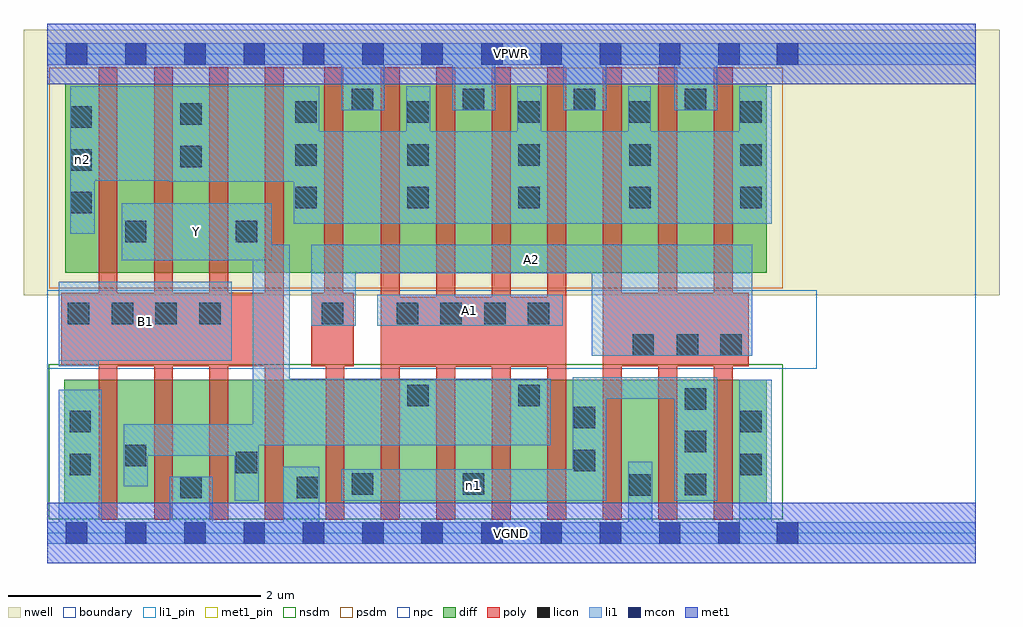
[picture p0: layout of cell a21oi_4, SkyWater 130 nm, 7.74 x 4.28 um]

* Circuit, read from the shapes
.subckt a21oi_4 A1 A2 B1 VGND VPWR Y n1 n2
XM1 Y B1 VGND VSUBS sky130_fd_pr__nfet_01v8 w=0.98 l=0.15 m=4
XM2 n1 A2 VGND VSUBS sky130_fd_pr__nfet_01v8 w=0.98 l=0.15 m=4
XM3 Y A1 n1 VSUBS sky130_fd_pr__nfet_01v8 w=0.98 l=0.15 m=4
XM4 Y B1 n2 n3 sky130_fd_pr__pfet_01v8 w=1.5 l=0.15 m=4
XM5 VPWR A2 n2 n3 sky130_fd_pr__pfet_01v8 w=1.5 l=0.15 m=4
XM6 n2 A1 VPWR n3 sky130_fd_pr__pfet_01v8 w=1.5 l=0.15 m=4
.ends

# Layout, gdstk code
import gdstk
lib = gdstk.Library(unit=1e-6, precision=1e-09)
def R(c, l, rs):  # rectangles x0, y0, x1, y1
    for r in rs: c.add(gdstk.rectangle(r[:2], r[2:], *l))
def A(c, l, x, y, w, h, nx, ny, dx, dy):  # array of equal rectangles
    R(c, l, [(x+i*dx, y+j*dy, x+i*dx+w, y+j*dy+h) for i in range(nx) for j in range(ny)])
nwell = (64, 20)
diff = (65, 20)
poly = (66, 20)
licon = (66, 44)
li1_pin = (67, 16)
li1 = (67, 20)
mcon = (67, 44)
met1_pin = (68, 16)
met1 = (68, 20)
nsdm = (93, 44)
psdm = (94, 20)
npc = (95, 20)
boundary = (235, 4)

a21oi_4 = lib.new_cell('a21oi_4')
R(a21oi_4, nwell, [(-0.19,1.885,7.55,3.99), (0,1.885,7.36,3.99)])
R(a21oi_4, diff, [(0.135,0.235,5.705,1.215), (0.14,2.065,5.705,3.565)])
A(a21oi_4, poly, 0.405, 0.105, 0.15, 3.59, 4, 1, 0.44, 0)
A(a21oi_4, poly, 2.645, 0.105, 0.15, 3.59, 7, 1, 0.44, 0)
R(a21oi_4, poly, [(2.205,0.105,2.355,1.905), (2.645,1.32,4.115,1.875), (0.11,1.325,1.875,1.905), (2.09,1.325,2.43,1.905), (2.195,1.325,2.345,3.695), (4.405,1.325,5.56,1.905)])
A(a21oi_4, licon, 5.055, 0.3, 0.17, 0.17, 1, 3, 0, 0.34)
A(a21oi_4, licon, 0.18, 2.535, 0.17, 0.17, 1, 3, 0, 0.34)
A(a21oi_4, licon, 1.965, 2.575, 0.17, 0.17, 1, 3, 0, 0.34)
A(a21oi_4, licon, 2.855, 2.575, 0.17, 0.17, 4, 3, 0.88, 0.34)
A(a21oi_4, licon, 2.415, 3.355, 0.17, 0.17, 4, 1, 0.88, 0)
R(a21oi_4, licon, [(1.055,0.275,1.225,0.445), (1.975,0.275,2.145,0.445), (4.615,0.295,4.785,0.465), (2.415,0.305,2.585,0.475), (3.295,0.305,3.465,0.475), (0.175,0.46,0.345,0.63), (5.495,0.46,5.665,0.63), (1.495,0.475,1.665,0.645), (4.175,0.49,4.345,0.66), (0.615,0.53,0.785,0.7), (0.175,0.8,0.345,0.97), (5.495,0.8,5.665,0.97), (4.175,0.83,4.345,1), (2.855,1.005,3.025,1.175), (3.735,1.005,3.905,1.175), (4.64,1.405,4.81,1.575), (4.99,1.405,5.16,1.575), (5.335,1.405,5.505,1.575), (0.16,1.655,0.33,1.825), (0.51,1.655,0.68,1.825), (0.855,1.655,1.025,1.825), (1.205,1.655,1.375,1.825), (2.175,1.655,2.345,1.825), (2.77,1.655,2.94,1.825), (3.115,1.655,3.285,1.825), (3.465,1.655,3.635,1.825), (3.81,1.655,3.98,1.825), (0.615,2.305,0.785,2.475), (1.495,2.305,1.665,2.475), (1.055,2.9,1.225,3.07), (1.055,3.24,1.225,3.41)])
R(a21oi_4, li1_pin, [(0.09,1.365,1.46,1.995), (2.615,1.645,4.085,1.89), (2.09,2.06,5.59,2.285), (0.59,2.165,1.78,2.615)])
A(a21oi_4, li1, 2.33, 3.355, 0.34, 0.53, 4, 1, 0.88, 0)
R(a21oi_4, li1, [(0,-0.085,7.36,0.085), (0.09,-0.085,0.43,1.135), (0.97,-0.085,1.31,0.445), (1.87,-0.085,2.155,0.525), (4.605,-0.085,4.795,0.565), (5.485,-0.085,5.745,1.215), (1.485,0.255,1.675,0.865), (2.33,0.255,4.43,0.505), (4.165,0.255,4.43,1.235), (4.97,0.255,5.31,1.235), (0.605,0.37,0.795,0.865), (0.605,0.615,1.675,0.865), (1.63,0.695,3.99,1.225), (2.32,1.005,3.99,1.225), (4.165,1.065,5.31,1.235), (1.63,1.225,1.92,2.285), (0.09,1.325,0.405,1.995), (0.09,1.365,1.46,1.995), (4.315,1.405,5.59,2.285), (2.09,1.645,2.445,2.285), (2.615,1.645,4.085,1.89), (2.09,2.06,5.59,2.285), (0.59,2.165,1.78,2.615), (0.18,2.375,0.375,3.545), (1.955,2.455,5.745,3.185), (1.955,2.455,2.155,3.545), (2.845,2.455,3.035,3.545), (3.725,2.455,3.915,3.545), (4.605,2.455,4.785,3.545), (5.485,2.455,5.745,3.545), (0.97,2.785,2.155,3.545), (0.18,2.795,2.155,3.545), (0,3.715,7.36,3.885)])
A(a21oi_4, mcon, 0.145, -0.085, 0.17, 0.17, 7, 2, 0.47, 3.8)
A(a21oi_4, mcon, 3.44, -0.085, 0.17, 0.17, 5, 2, 0.47, 3.8)
R(a21oi_4, mcon, [(5.785,-0.085,5.955,0.085), (5.785,3.715,5.955,3.885)])
R(a21oi_4, met1_pin, [(0,-0.24,7.36,0.24), (0,3.56,7.36,4.04)])
R(a21oi_4, met1, [(0,-0.24,7.36,0.24), (0,3.56,7.36,4.04)])
R(a21oi_4, nsdm, [(0.01,0.11,5.83,1.34)])
R(a21oi_4, psdm, [(0.015,1.94,5.83,3.69)])
R(a21oi_4, npc, [(0,1.305,6.1,1.925)])
R(a21oi_4, boundary, [(0,0,7.36,3.8)])
a21oi_4.add(gdstk.Label('A1', (3.35,1.767), layer=67, texttype=5))
a21oi_4.add(gdstk.Label('A2', (3.84,2.172), layer=67, texttype=5))
a21oi_4.add(gdstk.Label('B1', (0.775,1.68), layer=67, texttype=5))
a21oi_4.add(gdstk.Label('Y', (1.185,2.39), layer=67, texttype=5))
a21oi_4.add(gdstk.Label('n1', (3.38,0.38), layer=67, texttype=5))
a21oi_4.add(gdstk.Label('n2', (0.277,2.96), layer=67, texttype=5))
a21oi_4.add(gdstk.Label('VPWR', (3.68,3.8), layer=68, texttype=5))
a21oi_4.add(gdstk.Label('VGND', (3.68,0), layer=68, texttype=5))
a21oi_4.add(gdstk.Label('A1', (3.35,1.767), layer=67, texttype=16))
a21oi_4.add(gdstk.Label('A2', (3.84,2.172), layer=67, texttype=16))
a21oi_4.add(gdstk.Label('B1', (0.775,1.68), layer=67, texttype=16))
a21oi_4.add(gdstk.Label('Y', (1.185,2.39), layer=67, texttype=16))
a21oi_4.add(gdstk.Label('VPWR', (3.68,3.8), layer=68, texttype=16))
a21oi_4.add(gdstk.Label('VGND', (3.68,0), layer=68, texttype=16))

lib.write_gds('a21oi_4.gds')
